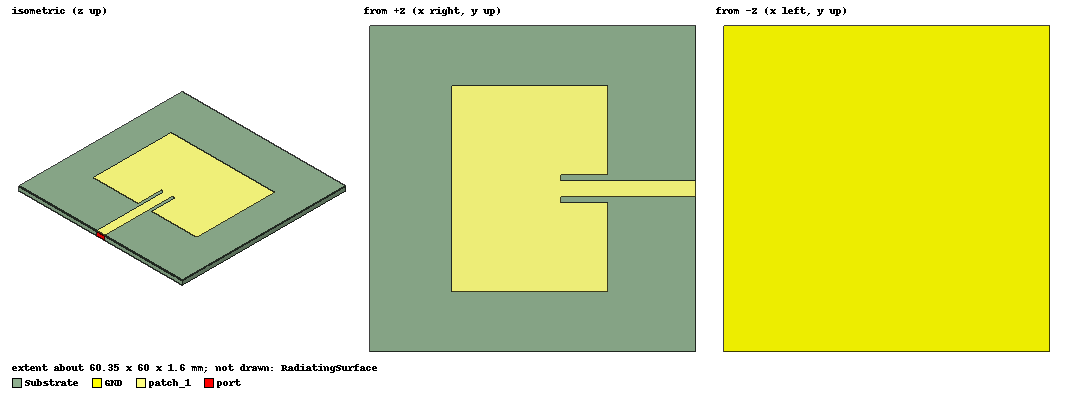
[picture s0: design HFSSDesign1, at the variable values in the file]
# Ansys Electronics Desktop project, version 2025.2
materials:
  vacuum: permittivity=1
  FR4_epoxy: permittivity=4.4 dielectric_loss_tangent=0.02

design HFSSDesign1 (HFSS, HFSS Terminal Network, model units mm)
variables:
  w = 60mm
  l = 38mm
  patch_w = 28.6mm
  patch_l = 38mm
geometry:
  GND = rectangle(corner=(-30mm, -30mm, 0mm), x_size=60mm, y_size=60mm)
  Substrate [FR4_epoxy] = box(corner=(-30mm, -30mm, 0mm), size=(w, w, 1.6mm))
  patch = rectangle(corner=((-29.8/2) mm, (-38/2) mm, 1.6mm), x_size=patch_w, y_size=patch_l)
  patch_1 = rectangle(corner=(0mm, -1.5mm, 1.6mm), x_size=32mm, y_size=3mm)
  Rectangle1 = rectangle(corner=(30mm, 1.6mm, 1.6mm), x_size=2.2mm, y_size=-3.8mm)
  patch_1.subtract(Rectangle1)
  Rectangle2 = rectangle(corner=(14.7mm, -2.5mm, 1.6mm), x_size=-9.5mm, y_size=5mm)
  patch.subtract(Rectangle2)
  patch_1.unite(patch)
  port = rectangle(corner=(30mm, -1.5mm, 1.6mm), y_size=3mm, z_size=-1.6mm)
  RadiatingSurface [vacuum] = region(absolute_offset=41.666667mm on all sides)
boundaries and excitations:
  PerfE1: Perfect E Objects=[patch_1, GND]
  Open1: Radiation Objects=RadiatingSurface
  1: Lumped Port Objects=port LumpedPortType=Modal Modes{Mode1{IntLine{(30, 0, 1.6) -> (30, 0, 0)} CharImp=Zpi RenormImp=50ohm}} Impedance=50ohm
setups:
  Setup1: HfssDriven Frequency=2.5GHz MaxDeltaS=0.02 MaximumPasses=6 MinimumPasses=1 MinimumConvergedPasses=1 PercentRefinement=30 BasisOrder=1 PortAccuracy=2 DrivenSolverType="Direct Solver"
    sweep Sweep: 2.2GHz to 2.75GHz, 401 points; Type=Interpolating InterpTolerance=0.5 InterpMaxSolns=250 PassivityErrorTolerance=0.0001
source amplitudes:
  1:1: 1V 0deg
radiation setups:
  3D: Infinite Sphere Theta=0deg..180deg step 2deg Phi=-180deg..180deg step 2deg
  Elevation: Infinite Sphere Theta=-180deg..180deg step 1deg Phi=0deg..90deg step 90deg
  Azimuth: Infinite Sphere Theta=90deg..90deg step 0deg Phi=-180deg..180deg step 1deg
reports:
  Y Parameter Plot1:
  S Parameter Plot1: dB(S(1,1)) vs Freq on Setup1 : Sweep; markers m1 at 2.388375GHz, MY1 at y=-10
  Gain Plot1: dB(GainTotal) vs Phi, Theta on Setup1 : LastAdaptive, 3D [Freq=2.5GHz]
  Gain Plot2: dB(GainTotal) vs Phi, Theta on Setup1 : LastAdaptive, 3D [Freq=2.5GHz]
  Gain Plot3: dB(GainTotal) vs Theta, Phi on Setup1 : LastAdaptive, 3D [Freq=2.5GHz]
  Gain Plot4: GainTotal vs Theta, Phi on Setup1 : LastAdaptive, 3D [Freq=2.5GHz]
  Gain Plot5: dB(GainTotal) vs Phi, Theta on Setup1 : LastAdaptive, 3D [Freq=2.5GHz]
  Z Parameter Plot1: mag(Z(1,1)) vs Freq on Setup1 : Sweep; markers m3 at 2.399375GHz
  VSWR Plot1: VSWR(1) vs Freq on Setup1 : Sweep; markers m1 at 2.399375GHz
  Gain Plot6: dB(GainTotal) vs Phi, Theta on Setup1 : LastAdaptive, 3D [Freq=2.5GHz]
  S Parameter Plot2: dB(S(1,1)) vs Freq on Setup1 : Sweep; markers m1 at 2.388375GHz, MY1 at y=-10
  Z Parameter Plot2: mag(Z(1,1)) vs Freq on Setup1 : Sweep; markers m1 at 2.399375GHz
